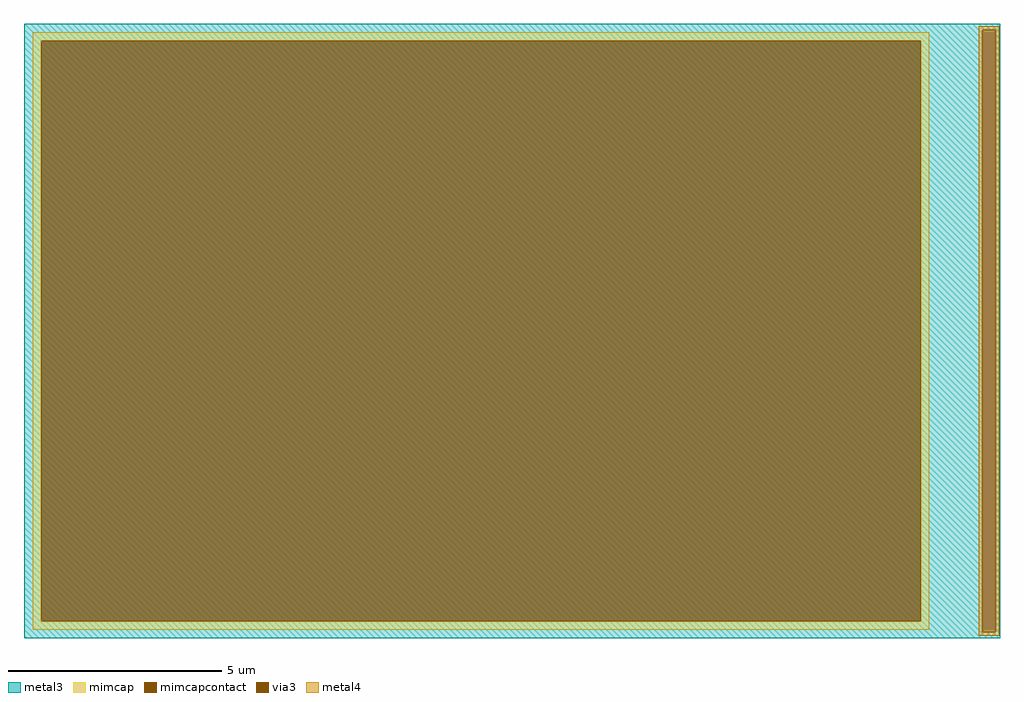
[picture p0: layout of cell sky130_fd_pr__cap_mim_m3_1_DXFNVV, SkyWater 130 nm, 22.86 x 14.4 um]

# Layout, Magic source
magic
tech sky130A
<< metal3 >>
rect -1143 706 1143 720
rect -1143 -706 1101 706
rect 1133 -706 1143 706
rect -1143 -720 1143 -706
<< via3 >>
rect 1101 -706 1133 706
<< mimcap >>
rect -1123 680 977 700
rect -1123 -680 -1103 680
rect 957 -680 977 680
rect -1123 -700 977 -680
<< mimcapcontact >>
rect -1103 -680 957 680
<< metal4 >>
rect 1093 706 1141 714
rect 1093 -706 1101 706
rect 1133 -706 1141 706
rect 1093 -714 1141 -706
<< properties >>
string FIXED_BBOX -1143 -720 997 720
string gencell sky130_fd_pr__cap_mim_m3_1
string library sky130
string parameters w 21 l 14 val 601.3 carea 2.00 cperi 0.19 class capacitor nx 1 ny 1 dummy 0 square 0 lmin 2.00 wmin 2.00 lmax 30.0 wmax 30.0 dc 0 bconnect 1 tconnect 1 ccov 100
<< end >>
